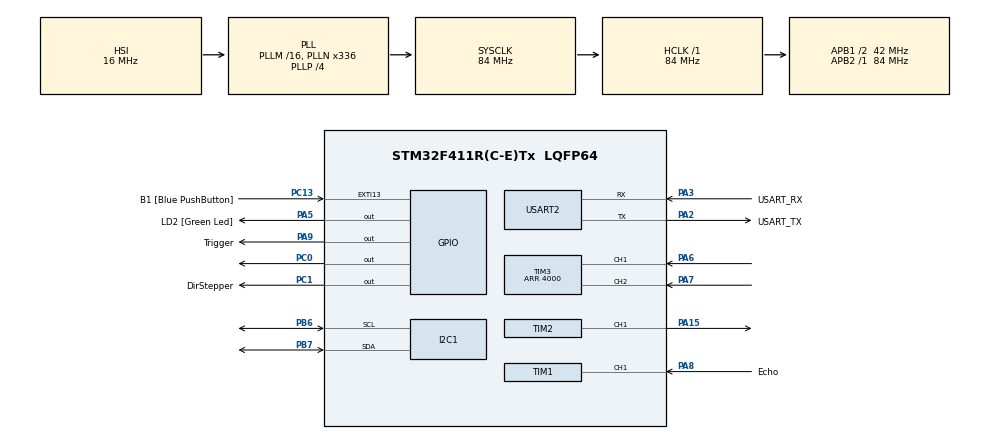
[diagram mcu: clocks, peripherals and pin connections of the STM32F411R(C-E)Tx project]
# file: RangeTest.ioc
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I2C1.I2C_Mode=I2C_Standard
Mcu.Family=STM32F4
Mcu.Name=STM32F411R(C-E)Tx
Mcu.Package=LQFP64
NVIC.EXTI15_10_IRQn=true\:0\:0\:false\:false\:true\:true\:true\:true
NVIC.PriorityGroup=NVIC_PRIORITYGROUP_0
NVIC.TIM1_CC_IRQn=true\:0\:0\:false\:false\:true\:true\:true\:true
NVIC.TIM1_UP_TIM10_IRQn=true\:0\:0\:false\:false\:true\:true\:true\:true
NVIC.TIM3_IRQn=true\:0\:0\:false\:false\:true\:true\:true\:true
PA13.GPIO_Label=TMS
PA13.Mode=Serial_Wire
PA13.Signal=SYS_JTMS-SWDIO
PA14.GPIO_Label=TCK
PA14.Mode=Serial_Wire
PA14.Signal=SYS_JTCK-SWCLK
PA15.Signal=S_TIM2_CH1_ETR
PA2.GPIO_Label=USART_TX
PA2.Mode=Asynchronous
PA2.Signal=USART2_TX
PA3.GPIO_Label=USART_RX
PA3.Mode=Asynchronous
PA3.Signal=USART2_RX
PA5.GPIO_Label=LD2 [Green Led]
PA5.Signal=GPIO_Output
PA6.Signal=S_TIM3_CH1
PA7.Signal=S_TIM3_CH2
PA8.GPIO_Label=Echo
PA8.Signal=S_TIM1_CH1
PA9.GPIO_Label=Trigger
PA9.Signal=GPIO_Output
PB3.GPIO_Label=SWO
PB3.Signal=SYS_JTDO-SWO
PB6.Mode=I2C
PB6.Signal=I2C1_SCL
PB7.Mode=I2C
PB7.Signal=I2C1_SDA
PC0.Signal=GPIO_Output
PC1.GPIO_Label=DirStepper
PC1.GPIO_Speed=GPIO_SPEED_FREQ_VERY_HIGH
PC1.Signal=GPIO_Output
PC13-ANTI_TAMP.GPIO_Label=B1 [Blue PushButton]
PC13-ANTI_TAMP.GPIO_ModeDefaultEXTI=GPIO_MODE_IT_FALLING
PC13-ANTI_TAMP.Signal=GPXTI13
PC14-OSC32_IN.Mode=LSE-External-Oscillator
PC14-OSC32_IN.Signal=RCC_OSC32_IN
PC15-OSC32_OUT.Mode=LSE-External-Oscillator
PC15-OSC32_OUT.Signal=RCC_OSC32_OUT
PH0\ -\ OSC_IN.Mode=HSE-External-Clock-Source
PH0\ -\ OSC_IN.Signal=RCC_OSC_IN
PH1\ -\ OSC_OUT.Mode=HSE-External-Clock-Source
PH1\ -\ OSC_OUT.Signal=RCC_OSC_OUT
ProjectManager.HeapSize=0x200
ProjectManager.StackSize=0x400
ProjectManager.TargetToolchain=STM32CubeIDE
RCC.48MHZClocksFreq_Value=84000000
RCC.AHBFreq_Value=84000000
RCC.APB1CLKDivider=RCC_HCLK_DIV2
RCC.APB1Freq_Value=42000000
RCC.APB1TimFreq_Value=84000000
RCC.APB2Freq_Value=84000000
RCC.APB2TimFreq_Value=84000000
RCC.CortexFreq_Value=84000000
RCC.FLatency-AdvancedSettings=FLASH_LATENCY_2
RCC.HCLKFreq_Value=84000000
RCC.HSE_VALUE=8000000
RCC.HSI_VALUE=16000000
RCC.PLLN=336
RCC.PLLP=RCC_PLLP_DIV4
RCC.RCC_RTC_Clock_Source=RCC_RTCCLKSOURCE_LSI
RCC.RCC_RTC_Clock_SourceVirtual=RCC_RTCCLKSOURCE_LSI
RCC.SYSCLKFreq_VALUE=84000000
RCC.SYSCLKSource=RCC_SYSCLKSOURCE_PLLCLK
RCC.VCOOutputFreq_Value=336000000
SH.S_TIM1_CH1.0=TIM1_CH1,Input_Capture1_from_TI1
SH.S_TIM2_CH1_ETR.0=TIM2_CH1,PWM Generation1 CH1
SH.S_TIM3_CH1.0=TIM3_CH1,Encoder_Interface
SH.S_TIM3_CH2.0=TIM3_CH2,Encoder_Interface
TIM1.Channel-Input_Capture1_from_TI1=TIM_CHANNEL_1
TIM1.Prescaler=71
TIM2.Channel-PWM\ Generation1\ CH1=TIM_CHANNEL_1
TIM3.EncoderMode=TIM_ENCODERMODE_TI12
TIM3.Period=4000
USART2.VirtualMode=VM_ASYNC
VP_TIM10_VS_ClockSourceINT.Mode=Enable_Timer
board=NUCLEO-F411RE

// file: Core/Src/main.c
/* USER CODE BEGIN Header */
/**
  ******************************************************************************
  * @file           : main.c
  * @brief          : Main program body
  ******************************************************************************
  * @attention
  *
  * Copyright (c) 2024 STMicroelectronics.
  * All rights reserved.
  *
  * This software is licensed under terms that can be found in the LICENSE file
  * in the root directory of this software component.
  * If no LICENSE file comes with this software, it is provided AS-IS.
  *
  ******************************************************************************
  */
/* USER CODE END Header */
#include "main.h"

/* USER CODE BEGIN Includes */
#include "lidarvl53.h"
#include "implementation.h"
#include "pid_controller.h"
#include <stdio.h>
#include <stdlib.h>
/* USER CODE END Includes */

I2C_HandleTypeDef hi2c1;

TIM_HandleTypeDef htim1;
TIM_HandleTypeDef htim2;
TIM_HandleTypeDef htim3;
TIM_HandleTypeDef htim10;

UART_HandleTypeDef huart2;

/* USER CODE BEGIN PV */

pid_controller_t pid_pos;

/* USER CODE END PV */

void SystemClock_Config(void);
static void MX_GPIO_Init(void);
static void MX_USART2_UART_Init(void);
static void MX_I2C1_Init(void);
static void MX_TIM10_Init(void);
static void MX_TIM3_Init(void);
static void MX_TIM2_Init(void);
static void MX_TIM1_Init(void);

/* USER CODE BEGIN 0 */

	uint16_t millimeter=0;
	//float distance =0 ;
	float filteredpos=0;
	float vel=0;
	float acc=0;
	float q0e;
	uint8_t isFirstReading=0;
	float lastreading=0;
	int setpoint=0;

	float disp1;

	float error;

	float qe0;

	uint32_t IC_Val1 = 0;
	uint32_t IC_Val2 = 0;
	float Difference = 0;
	uint8_t Is_First_Captured = 0;  // is the first value captured ?
	float Distance  = 0;

	 float KP = 0.060; //0.08  0.016;//0.54; //0.061; // 0.008//0.002//0.9// 0.5 //P=-13.2717  20 30 60
     float  KI =0;// 0.04; //0.25;//0.8 1.1;//1.2 0.98;//0.03//0.8 //I=0 TI=KP/KI
	 float KD = 4.6;//1.6; //0.95; //9.21 ;//0.95; //1.8 ;//2 ; //20
	 float TAU = 900;

/* USER CODE END 0 */

int main(void)
{

  /* MCU Configuration--------------------------------------------------------*/

  /* Reset of all peripherals, Initializes the Flash interface and the Systick. */
 HAL_Init();

  /* Configure the system clock */
  SystemClock_Config();

  /* Initialize all configured peripherals */
  MX_GPIO_Init();
  MX_USART2_UART_Init();
  MX_I2C1_Init();
  MX_TIM10_Init();
  MX_TIM3_Init();
  MX_TIM2_Init();
  MX_TIM1_Init();
  /* USER CODE BEGIN 2 */
 // lidar_init(dir_s1);

  system_init( &sys , DIR_S,Read_TS, &htim3,&htim2,&htim1, pid_pos);
  //HAL_TIM_Base_Start_IT(&htim1); // Start the encoder reading timer
  HAL_TIM_Base_Start_IT(&htim3);
  setupReadingTimer(&htim10); // Start the  encoder sampling timer

  /* start PWM */
    if(HAL_TIM_PWM_Start(&htim2, TIM_CHANNEL_1) != HAL_OK){
        HardFault_Handler();
    }
  HAL_Delay(100);
  startMeasurement();

    // sys.set_point= 100.00;

  pid_controller_t pid_pos;
  PID_init(&sys.pid_pos,KP,KI,KD,TAU,1);

  set_limit(&sys.pid_pos,-400,400,-60,60); //50

  /* USER CODE END 2 */

  /* Infinite loop */
  /* USER CODE BEGIN WHILE */
  while (1)
  {

	  set_parameters(&sys.pid_pos, KP, KI, KD, TAU);

      ready=0;

	  millimeter =getRangeData();
      distance=(float) millimeter;
	 printf(" DISTNCE %f\n",distance);
	 fflush(stdout);

	 if(!isFirstReading==0){
		 rblast(&sys.Ball_pos,&lastreading);
		 if(!(lastreading==distance)){
			 rbpush(&sys.Ball_pos, distance); // questo metodo non funziona perche satura la velocità ad un valore fisso
		 }

	 }else{
		 isFirstReading=1;// evita d'inserire nel buffer il primo valore che proviene dal sensore poich è sempre errato

	 }
     ball_estimation(&sys);

     // display purpose
     rblast(&sys.Ball_pos_filtered,&filteredpos);

     filteredpos=filteredpos;

     error=sys.pid_pos.prev_err;

    /* USER CODE END WHILE */

  }
}

void SystemClock_Config(void)
{
  RCC_OscInitTypeDef RCC_OscInitStruct = {0};
  RCC_ClkInitTypeDef RCC_ClkInitStruct = {0};

  /** Configure the main internal regulator output voltage
  */
  __HAL_RCC_PWR_CLK_ENABLE();
  __HAL_PWR_VOLTAGESCALING_CONFIG(PWR_REGULATOR_VOLTAGE_SCALE1);

  /** Initializes the RCC Oscillators according to the specified parameters
  * in the RCC_OscInitTypeDef structure.
  */
  RCC_OscInitStruct.OscillatorType = RCC_OSCILLATORTYPE_HSI;
  RCC_OscInitStruct.HSIState = RCC_HSI_ON;
  RCC_OscInitStruct.HSICalibrationValue = RCC_HSICALIBRATION_DEFAULT;
  RCC_OscInitStruct.PLL.PLLState = RCC_PLL_ON;
  RCC_OscInitStruct.PLL.PLLSource = RCC_PLLSOURCE_HSI;
  RCC_OscInitStruct.PLL.PLLM = 16;
  RCC_OscInitStruct.PLL.PLLN = 336;
  RCC_OscInitStruct.PLL.PLLP = RCC_PLLP_DIV4;
  RCC_OscInitStruct.PLL.PLLQ = 4;
  if (HAL_RCC_OscConfig(&RCC_OscInitStruct) != HAL_OK)
  {
    Error_Handler();
  }

  /** Initializes the CPU, AHB and APB buses clocks
  */
  RCC_ClkInitStruct.ClockType = RCC_CLOCKTYPE_HCLK|RCC_CLOCKTYPE_SYSCLK
                              |RCC_CLOCKTYPE_PCLK1|RCC_CLOCKTYPE_PCLK2;
  RCC_ClkInitStruct.SYSCLKSource = RCC_SYSCLKSOURCE_PLLCLK;
  RCC_ClkInitStruct.AHBCLKDivider = RCC_SYSCLK_DIV1;
  RCC_ClkInitStruct.APB1CLKDivider = RCC_HCLK_DIV2;
  RCC_ClkInitStruct.APB2CLKDivider = RCC_HCLK_DIV1;

  if (HAL_RCC_ClockConfig(&RCC_ClkInitStruct, FLASH_LATENCY_2) != HAL_OK)
  {
    Error_Handler();
  }
}

static void MX_I2C1_Init(void)
{

  hi2c1.Instance = I2C1;
  hi2c1.Init.ClockSpeed = 100000;
  hi2c1.Init.DutyCycle = I2C_DUTYCYCLE_2;
  hi2c1.Init.OwnAddress1 = 0;
  hi2c1.Init.AddressingMode = I2C_ADDRESSINGMODE_7BIT;
  hi2c1.Init.DualAddressMode = I2C_DUALADDRESS_DISABLE;
  hi2c1.Init.OwnAddress2 = 0;
  hi2c1.Init.GeneralCallMode = I2C_GENERALCALL_DISABLE;
  hi2c1.Init.NoStretchMode = I2C_NOSTRETCH_DISABLE;
  if (HAL_I2C_Init(&hi2c1) != HAL_OK)
  {
    Error_Handler();
  }

}

static void MX_TIM1_Init(void)
{

  TIM_MasterConfigTypeDef sMasterConfig = {0};
  TIM_IC_InitTypeDef sConfigIC = {0};

  htim1.Instance = TIM1;
  htim1.Init.Prescaler = 71;
  htim1.Init.CounterMode = TIM_COUNTERMODE_UP;
  htim1.Init.Period = 65535;
  htim1.Init.ClockDivision = TIM_CLOCKDIVISION_DIV1;
  htim1.Init.RepetitionCounter = 0;
  htim1.Init.AutoReloadPreload = TIM_AUTORELOAD_PRELOAD_DISABLE;
  if (HAL_TIM_IC_Init(&htim1) != HAL_OK)
  {
    Error_Handler();
  }
  sMasterConfig.MasterOutputTrigger = TIM_TRGO_RESET;
  sMasterConfig.MasterSlaveMode = TIM_MASTERSLAVEMODE_DISABLE;
  if (HAL_TIMEx_MasterConfigSynchronization(&htim1, &sMasterConfig) != HAL_OK)
  {
    Error_Handler();
  }
  sConfigIC.ICPolarity = TIM_INPUTCHANNELPOLARITY_RISING;
  sConfigIC.ICSelection = TIM_ICSELECTION_DIRECTTI;
  sConfigIC.ICPrescaler = TIM_ICPSC_DIV1;
  sConfigIC.ICFilter = 0;
  if (HAL_TIM_IC_ConfigChannel(&htim1, &sConfigIC, TIM_CHANNEL_1) != HAL_OK)
  {
    Error_Handler();
  }

}

static void MX_TIM2_Init(void)
{

  TIM_MasterConfigTypeDef sMasterConfig = {0};
  TIM_OC_InitTypeDef sConfigOC = {0};

  htim2.Instance = TIM2;
  htim2.Init.Prescaler = 0;
  htim2.Init.CounterMode = TIM_COUNTERMODE_UP;
  htim2.Init.Period = 4294967295;
  htim2.Init.ClockDivision = TIM_CLOCKDIVISION_DIV1;
  htim2.Init.AutoReloadPreload = TIM_AUTORELOAD_PRELOAD_DISABLE;
  if (HAL_TIM_PWM_Init(&htim2) != HAL_OK)
  {
    Error_Handler();
  }
  sMasterConfig.MasterOutputTrigger = TIM_TRGO_RESET;
  sMasterConfig.MasterSlaveMode = TIM_MASTERSLAVEMODE_DISABLE;
  if (HAL_TIMEx_MasterConfigSynchronization(&htim2, &sMasterConfig) != HAL_OK)
  {
    Error_Handler();
  }
  sConfigOC.OCMode = TIM_OCMODE_PWM1;
  sConfigOC.Pulse = 0;
  sConfigOC.OCPolarity = TIM_OCPOLARITY_HIGH;
  sConfigOC.OCFastMode = TIM_OCFAST_DISABLE;
  if (HAL_TIM_PWM_ConfigChannel(&htim2, &sConfigOC, TIM_CHANNEL_1) != HAL_OK)
  {
    Error_Handler();
  }
  HAL_TIM_MspPostInit(&htim2);

}

static void MX_TIM3_Init(void)
{

  TIM_Encoder_InitTypeDef sConfig = {0};
  TIM_MasterConfigTypeDef sMasterConfig = {0};

  htim3.Instance = TIM3;
  htim3.Init.Prescaler = 0;
  htim3.Init.CounterMode = TIM_COUNTERMODE_UP;
  htim3.Init.Period = 4000;
  htim3.Init.ClockDivision = TIM_CLOCKDIVISION_DIV1;
  htim3.Init.AutoReloadPreload = TIM_AUTORELOAD_PRELOAD_DISABLE;
  sConfig.EncoderMode = TIM_ENCODERMODE_TI12;
  sConfig.IC1Polarity = TIM_ICPOLARITY_RISING;
  sConfig.IC1Selection = TIM_ICSELECTION_DIRECTTI;
  sConfig.IC1Prescaler = TIM_ICPSC_DIV1;
  sConfig.IC1Filter = 0;
  sConfig.IC2Polarity = TIM_ICPOLARITY_RISING;
  sConfig.IC2Selection = TIM_ICSELECTION_DIRECTTI;
  sConfig.IC2Prescaler = TIM_ICPSC_DIV1;
  sConfig.IC2Filter = 0;
  if (HAL_TIM_Encoder_Init(&htim3, &sConfig) != HAL_OK)
  {
    Error_Handler();
  }
  sMasterConfig.MasterOutputTrigger = TIM_TRGO_RESET;
  sMasterConfig.MasterSlaveMode = TIM_MASTERSLAVEMODE_DISABLE;
  if (HAL_TIMEx_MasterConfigSynchronization(&htim3, &sMasterConfig) != HAL_OK)
  {
    Error_Handler();
  }

}

static void MX_TIM10_Init(void)
{

  htim10.Instance = TIM10;
  htim10.Init.Prescaler = 0;
  htim10.Init.CounterMode = TIM_COUNTERMODE_UP;
  htim10.Init.Period = 65535;
  htim10.Init.ClockDivision = TIM_CLOCKDIVISION_DIV1;
  htim10.Init.AutoReloadPreload = TIM_AUTORELOAD_PRELOAD_DISABLE;
  if (HAL_TIM_Base_Init(&htim10) != HAL_OK)
  {
    Error_Handler();
  }

}

static void MX_USART2_UART_Init(void)
{

  huart2.Instance = USART2;
  huart2.Init.BaudRate = 115200;
  huart2.Init.WordLength = UART_WORDLENGTH_8B;
  huart2.Init.StopBits = UART_STOPBITS_1;
  huart2.Init.Parity = UART_PARITY_NONE;
  huart2.Init.Mode = UART_MODE_TX_RX;
  huart2.Init.HwFlowCtl = UART_HWCONTROL_NONE;
  huart2.Init.OverSampling = UART_OVERSAMPLING_16;
  if (HAL_UART_Init(&huart2) != HAL_OK)
  {
    Error_Handler();
  }

}

static void MX_GPIO_Init(void)
{
  GPIO_InitTypeDef GPIO_InitStruct = {0};

  /* GPIO Ports Clock Enable */
  __HAL_RCC_GPIOC_CLK_ENABLE();
  __HAL_RCC_GPIOH_CLK_ENABLE();
  __HAL_RCC_GPIOA_CLK_ENABLE();
  __HAL_RCC_GPIOB_CLK_ENABLE();

  /*Configure GPIO pin Output Level */
  HAL_GPIO_WritePin(GPIOC, GPIO_PIN_0|DirStepper_Pin, GPIO_PIN_RESET);

  /*Configure GPIO pin Output Level */
  HAL_GPIO_WritePin(GPIOA, LD2_Pin|Trigger_Pin, GPIO_PIN_RESET);

  /*Configure GPIO pin : B1_Pin */
  GPIO_InitStruct.Pin = B1_Pin;
  GPIO_InitStruct.Mode = GPIO_MODE_IT_FALLING;
  GPIO_InitStruct.Pull = GPIO_NOPULL;
  HAL_GPIO_Init(B1_GPIO_Port, &GPIO_InitStruct);

  /*Configure GPIO pin : PC0 */
  GPIO_InitStruct.Pin = GPIO_PIN_0;
  GPIO_InitStruct.Mode = GPIO_MODE_OUTPUT_PP;
  GPIO_InitStruct.Pull = GPIO_NOPULL;
  GPIO_InitStruct.Speed = GPIO_SPEED_FREQ_LOW;
  HAL_GPIO_Init(GPIOC, &GPIO_InitStruct);

  /*Configure GPIO pin : DirStepper_Pin */
  GPIO_InitStruct.Pin = DirStepper_Pin;
  GPIO_InitStruct.Mode = GPIO_MODE_OUTPUT_PP;
  GPIO_InitStruct.Pull = GPIO_NOPULL;
  GPIO_InitStruct.Speed = GPIO_SPEED_FREQ_VERY_HIGH;
  HAL_GPIO_Init(DirStepper_GPIO_Port, &GPIO_InitStruct);

  /*Configure GPIO pins : LD2_Pin Trigger_Pin */
  GPIO_InitStruct.Pin = LD2_Pin|Trigger_Pin;
  GPIO_InitStruct.Mode = GPIO_MODE_OUTPUT_PP;
  GPIO_InitStruct.Pull = GPIO_NOPULL;
  GPIO_InitStruct.Speed = GPIO_SPEED_FREQ_LOW;
  HAL_GPIO_Init(GPIOA, &GPIO_InitStruct);

  /* EXTI interrupt init*/
  HAL_NVIC_SetPriority(EXTI15_10_IRQn, 0, 0);
  HAL_NVIC_EnableIRQ(EXTI15_10_IRQn);

}

/* USER CODE BEGIN 4 */

int __io_putchar(int ch) {
    ITM_SendChar(ch);
    return ch;
}

void HCSR04_Read (void)
{
	HAL_GPIO_WritePin(Trigger_GPIO_Port, Trigger_Pin, GPIO_PIN_SET);  // pull the TRIG pin HIGH
	HAL_Delay(10);  // wait for 10 us
	HAL_GPIO_WritePin(Trigger_GPIO_Port, Trigger_Pin, GPIO_PIN_RESET);  // pull the TRIG pin low

	__HAL_TIM_ENABLE_IT(&htim1, TIM_IT_CC1);
}

void HAL_TIM_IC_CaptureCallback(TIM_HandleTypeDef *htim)
{
	if (htim->Channel == HAL_TIM_ACTIVE_CHANNEL_1)  // if the interrupt source is channel1
	{
		if (Is_First_Captured==0) // if the first value is not captured
		{
			IC_Val1 = HAL_TIM_ReadCapturedValue(htim, TIM_CHANNEL_1); // read the first value
			Is_First_Captured = 1;  // set the first captured as true
			// Now change the polarity to falling edge
			__HAL_TIM_SET_CAPTUREPOLARITY(htim, TIM_CHANNEL_1, TIM_INPUTCHANNELPOLARITY_FALLING);
		}

		else if (Is_First_Captured==1)   // if the first is already captured
		{
			IC_Val2 = HAL_TIM_ReadCapturedValue(htim, TIM_CHANNEL_1);  // read second value
			__HAL_TIM_SET_COUNTER(htim, 0);  // reset the counter

			if (IC_Val2 > IC_Val1)
			{
				Difference = IC_Val2-IC_Val1;
			}

			else if (IC_Val1 > IC_Val2)
			{
				Difference = (0xffff - IC_Val1) + IC_Val2;
			}

			//Distance = Difference * .034/2;
			Is_First_Captured = 0; // set it back to false

			//rbpush(&sys.Ball_pos, Distance);

			// set polarity to rising edge
			__HAL_TIM_SET_CAPTUREPOLARITY(htim, TIM_CHANNEL_1, TIM_INPUTCHANNELPOLARITY_RISING);
			__HAL_TIM_DISABLE_IT(&htim1, TIM_IT_CC1);
			//__HAL_TIM_DISABLE_IT(htim, TIM_CHANNEL_1);
		}
	}
}

/* USER CODE END 4 */

void Error_Handler(void)
{
  __disable_irq();
  while (1)
  {
  }
}
